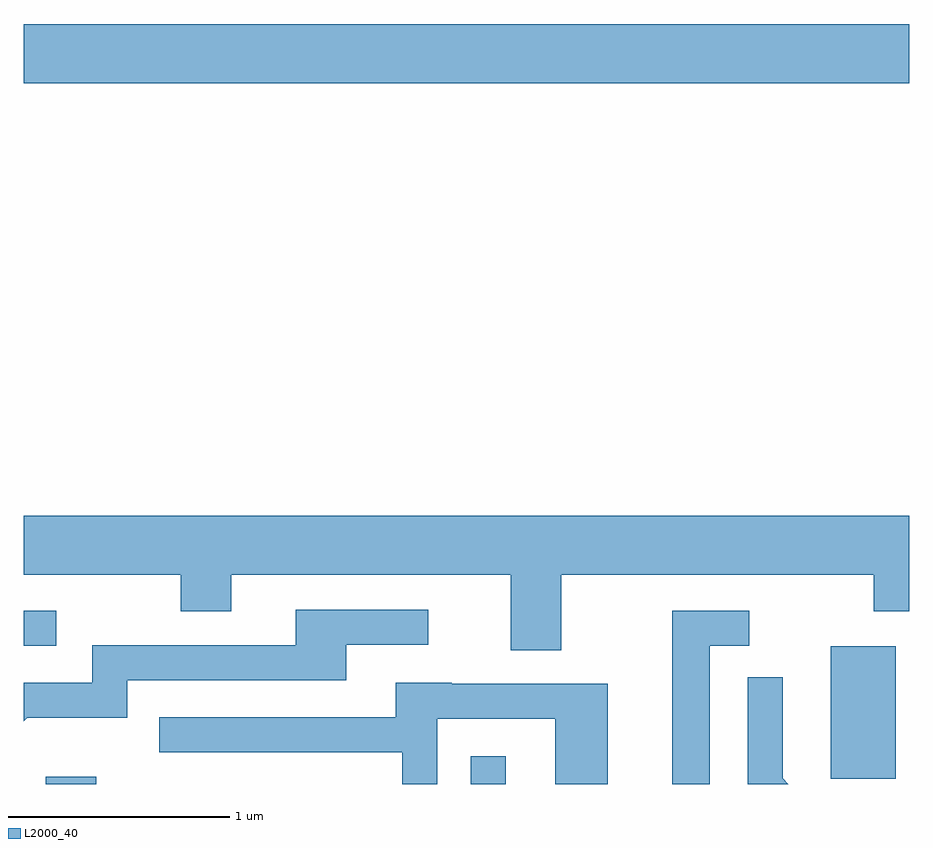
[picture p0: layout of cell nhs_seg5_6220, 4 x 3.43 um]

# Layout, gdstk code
import gdstk
lib = gdstk.Library(unit=1e-6, precision=1e-09)
def R(c, l, rs):  # rectangles x0, y0, x1, y1
    for r in rs: c.add(gdstk.rectangle(r[:2], r[2:], *l))
def P(c, l, *ps):  # polygons
    for p in ps: c.add(gdstk.Polygon(p, *l))
L2000_40 = (2000, 40)

nhs_seg5_6220 = lib.new_cell('nhs_seg5_6220')
R(nhs_seg5_6220, L2000_40, [(369.711,1458.072,369.939,1458.104), (371.631,1458.072,371.789,1458.198), (373.256,1458.096,373.549,1458.694), (369.611,1458.696,369.758,1458.854), (369.611,1461.236,373.611,1461.504)])
P(nhs_seg5_6220, L2000_40, [(372.039,1459.016),(373.451,1459.016),(373.451,1458.851),(373.611,1458.851),(373.611,1459.284),(369.611,1459.284),(369.611,1459.016),(370.321,1459.016),(370.321,1458.851),(370.549,1458.851),(370.549,1459.016),(371.811,1459.016),(371.811,1458.676),(372.039,1458.676)],
  [(369.627,1458.371),(370.079,1458.371),(370.079,1458.541),(371.069,1458.541),(371.069,1458.701),(371.438,1458.701),(371.438,1458.859),(370.841,1458.859),(370.841,1458.699),(369.921,1458.699),(369.921,1458.529),(369.611,1458.529),(369.611,1458.355)],
  [(372.709,1458.696),(372.888,1458.696),(372.888,1458.854),(372.541,1458.854),(372.541,1458.072),(372.709,1458.072)],
  [(373.039,1458.097),(373.039,1458.553),(372.881,1458.553),(372.881,1458.072),(373.064,1458.072)],
  [(371.479,1458.366),(372.011,1458.366),(372.011,1458.072),(372.249,1458.072),(372.249,1458.524),(371.545,1458.524),(371.545,1458.529),(371.291,1458.529),(371.291,1458.374),(370.223,1458.374),(370.223,1458.216),(371.321,1458.216),(371.321,1458.072),(371.479,1458.072)])

lib.write_gds('nhs_seg5_6220.gds')
